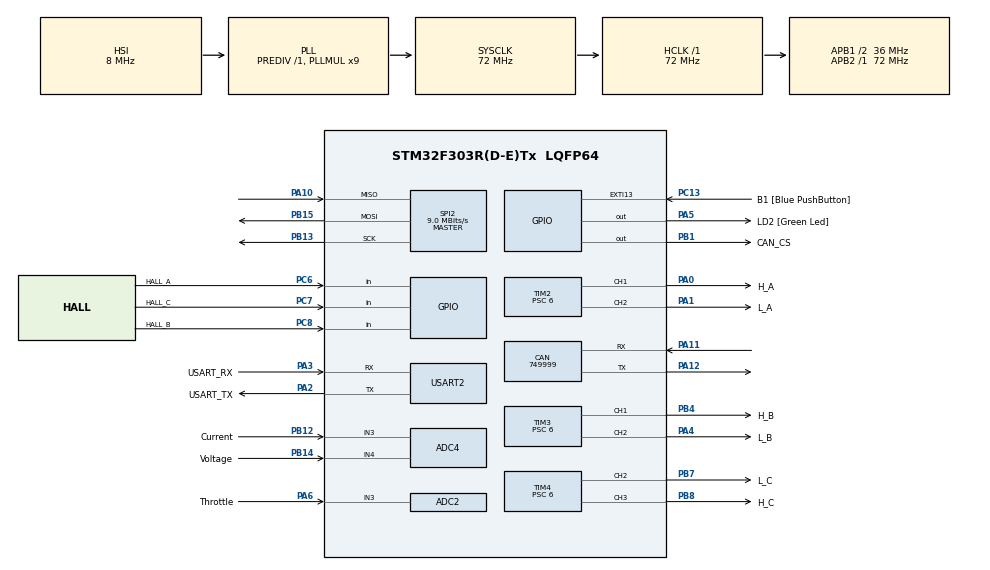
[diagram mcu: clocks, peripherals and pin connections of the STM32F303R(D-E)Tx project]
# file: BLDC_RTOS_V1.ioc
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ADC2.Channel-0\#ChannelRegularConversion=ADC_CHANNEL_3
ADC2.Channel-1\#ChannelRegularConversion=ADC_CHANNEL_3
ADC2.Channel-2\#ChannelRegularConversion=ADC_CHANNEL_3
ADC2.ContinuousConvMode=ENABLE
ADC2.DMAContinuousRequests=ENABLE
ADC2.NbrOfConversion=3
ADC2.NbrOfConversionFlag=1
ADC2.Offset-0\#ChannelRegularConversion=0
ADC2.Offset-1\#ChannelRegularConversion=0
ADC2.Offset-2\#ChannelRegularConversion=0
ADC2.OffsetNumber-0\#ChannelRegularConversion=ADC_OFFSET_NONE
ADC2.OffsetNumber-1\#ChannelRegularConversion=ADC_OFFSET_NONE
ADC2.OffsetNumber-2\#ChannelRegularConversion=ADC_OFFSET_NONE
ADC2.Rank-0\#ChannelRegularConversion=1
ADC2.Rank-1\#ChannelRegularConversion=2
ADC2.Rank-2\#ChannelRegularConversion=3
ADC2.SamplingTime-0\#ChannelRegularConversion=ADC_SAMPLETIME_1CYCLE_5
ADC2.SamplingTime-1\#ChannelRegularConversion=ADC_SAMPLETIME_1CYCLE_5
ADC2.SamplingTime-2\#ChannelRegularConversion=ADC_SAMPLETIME_1CYCLE_5
ADC2.SamplingTimeOPAMP-0\#ChannelRegularConversion=ADC_SAMPLETIME_61CYCLES_5
ADC2.SamplingTimeOPAMP-1\#ChannelRegularConversion=ADC_SAMPLETIME_61CYCLES_5
ADC2.SamplingTimeOPAMP-2\#ChannelRegularConversion=ADC_SAMPLETIME_61CYCLES_5
ADC4.Channel-0\#ChannelRegularConversion=ADC_CHANNEL_3
ADC4.Channel-1\#ChannelRegularConversion=ADC_CHANNEL_3
ADC4.Channel-2\#ChannelRegularConversion=ADC_CHANNEL_3
ADC4.ContinuousConvMode=ENABLE
ADC4.DMAContinuousRequests=ENABLE
ADC4.NbrOfConversion=3
ADC4.NbrOfConversionFlag=1
ADC4.Offset-0\#ChannelRegularConversion=0
ADC4.Offset-1\#ChannelRegularConversion=0
ADC4.Offset-2\#ChannelRegularConversion=0
ADC4.OffsetNumber-0\#ChannelRegularConversion=ADC_OFFSET_NONE
ADC4.OffsetNumber-1\#ChannelRegularConversion=ADC_OFFSET_NONE
ADC4.OffsetNumber-2\#ChannelRegularConversion=ADC_OFFSET_NONE
ADC4.Rank-0\#ChannelRegularConversion=1
ADC4.Rank-1\#ChannelRegularConversion=2
ADC4.Rank-2\#ChannelRegularConversion=3
ADC4.SamplingTime-0\#ChannelRegularConversion=ADC_SAMPLETIME_1CYCLE_5
ADC4.SamplingTime-1\#ChannelRegularConversion=ADC_SAMPLETIME_1CYCLE_5
ADC4.SamplingTime-2\#ChannelRegularConversion=ADC_SAMPLETIME_1CYCLE_5
ADC4.SamplingTimeOPAMP-1\#ChannelRegularConversion=ADC_SAMPLETIME_61CYCLES_5
ADC4.SamplingTimeOPAMP-2\#ChannelRegularConversion=ADC_SAMPLETIME_61CYCLES_5
CAN.CalculateBaudRate=749999
CAN.CalculateTimeBit=1333
CAN.CalculateTimeQuantum=444.44444444444446
Dma.ADC2.1.Direction=DMA_PERIPH_TO_MEMORY
Dma.ADC2.1.Instance=DMA2_Channel1
Dma.ADC2.1.MemDataAlignment=DMA_MDATAALIGN_HALFWORD
Dma.ADC2.1.MemInc=DMA_MINC_ENABLE
Dma.ADC2.1.Mode=DMA_CIRCULAR
Dma.ADC2.1.PeriphDataAlignment=DMA_PDATAALIGN_HALFWORD
Dma.ADC2.1.PeriphInc=DMA_PINC_DISABLE
Dma.ADC2.1.Priority=DMA_PRIORITY_LOW
Dma.ADC4.2.Direction=DMA_PERIPH_TO_MEMORY
Dma.ADC4.2.Instance=DMA2_Channel2
Dma.ADC4.2.MemDataAlignment=DMA_MDATAALIGN_HALFWORD
Dma.ADC4.2.MemInc=DMA_MINC_ENABLE
Dma.ADC4.2.Mode=DMA_CIRCULAR
Dma.ADC4.2.PeriphDataAlignment=DMA_PDATAALIGN_HALFWORD
Dma.ADC4.2.PeriphInc=DMA_PINC_DISABLE
Dma.ADC4.2.Priority=DMA_PRIORITY_LOW
Dma.Request0=USART2_TX
Dma.Request1=ADC2
Dma.Request2=ADC4
Dma.USART2_TX.0.Direction=DMA_MEMORY_TO_PERIPH
Dma.USART2_TX.0.Instance=DMA1_Channel7
Dma.USART2_TX.0.MemDataAlignment=DMA_MDATAALIGN_BYTE
Dma.USART2_TX.0.MemInc=DMA_MINC_ENABLE
Dma.USART2_TX.0.Mode=DMA_CIRCULAR
Dma.USART2_TX.0.PeriphDataAlignment=DMA_PDATAALIGN_BYTE
Dma.USART2_TX.0.PeriphInc=DMA_PINC_DISABLE
Dma.USART2_TX.0.Priority=DMA_PRIORITY_LOW
FREERTOS.Tasks01=defaultTask,-2,128,StartDefaultTask,Default,NULL,Dynamic,NULL,NULL;pwmHandle,-3,128,StartPwmHandle,Default,NULL,Dynamic,NULL,NULL;adcHandle,1,128,StartAdcHandle,Default,NULL,Dynamic,NULL,NULL;canHandler,2,128,StartCanHandler,Default,NULL,Dynamic,NULL,NULL;DataHandler,2,128,StartDataHandler,Default,NULL,Dynamic,NULL,NULL
FREERTOS.configUSE_NEWLIB_REENTRANT=1
Mcu.Family=STM32F3
Mcu.Name=STM32F303R(D-E)Tx
Mcu.Package=LQFP64
NVIC.ADC1_2_IRQn=true\:5\:0\:false\:false\:true\:true\:true\:true\:true
NVIC.DMA1_Channel7_IRQn=true\:5\:0\:false\:false\:true\:true\:false\:true\:true
NVIC.DMA2_Channel1_IRQn=true\:5\:0\:false\:false\:true\:true\:false\:true\:true
NVIC.DMA2_Channel2_IRQn=true\:5\:0\:false\:false\:true\:true\:false\:true\:true
NVIC.PriorityGroup=NVIC_PRIORITYGROUP_4
NVIC.TIM1_BRK_TIM15_IRQn=true\:5\:0\:false\:false\:true\:true\:true\:true\:true
NVIC.TIM1_UP_TIM16_IRQn=true\:15\:0\:false\:false\:true\:false\:false\:true\:true
NVIC.TIM2_IRQn=true\:5\:0\:false\:false\:true\:true\:true\:true\:true
NVIC.TIM3_IRQn=true\:5\:0\:false\:false\:true\:true\:true\:true\:true
NVIC.TimeBase=TIM1_UP_TIM16_IRQn
NVIC.TimeBaseIP=TIM1
PA0.GPIO_Label=H_A
PA0.Signal=S_TIM2_CH1_ETR
PA1.GPIO_Label=L_A
PA1.Signal=S_TIM2_CH2
PA10.GPIO_PuPd=GPIO_PULLDOWN
PA10.Mode=Full_Duplex_Master
PA10.Signal=SPI2_MISO
PA11.Mode=CAN_Activate
PA11.Signal=CAN_RX
PA12.Mode=CAN_Activate
PA12.Signal=CAN_TX
PA13.GPIO_Label=TMS
PA13.Mode=Serial_Wire
PA13.Signal=SYS_JTMS-SWDIO
PA14.GPIO_Label=TCK
PA14.Mode=Serial_Wire
PA14.Signal=SYS_JTCK-SWCLK
PA2.GPIO_Label=USART_TX
PA2.GPIO_Mode=GPIO_MODE_AF_PP
PA2.GPIO_PuPd=GPIO_NOPULL
PA2.GPIO_Speed=GPIO_SPEED_FREQ_LOW
PA2.Mode=Asynchronous
PA2.Signal=USART2_TX
PA3.GPIO_Label=USART_RX
PA3.GPIO_Mode=GPIO_MODE_AF_PP
PA3.GPIO_PuPd=GPIO_NOPULL
PA3.GPIO_Speed=GPIO_SPEED_FREQ_LOW
PA3.Mode=Asynchronous
PA3.Signal=USART2_RX
PA4.GPIO_Label=L_B
PA4.Signal=S_TIM3_CH2
PA5.GPIO_Label=LD2 [Green Led]
PA5.GPIO_Mode=GPIO_MODE_OUTPUT_PP
PA5.GPIO_PuPd=GPIO_NOPULL
PA5.GPIO_Speed=GPIO_SPEED_FREQ_LOW
PA5.Signal=GPIO_Output
PA6.GPIO_Label=Throttle
PA6.Mode=IN3-Single-Ended
PA6.Signal=ADC2_IN3
PB1.GPIO_Label=CAN_CS
PB1.PinState=GPIO_PIN_SET
PB1.Signal=GPIO_Output
PB12.GPIO_Label=Current
PB12.Mode=IN3-Single-Ended
PB12.Signal=ADC4_IN3
PB13.GPIO_PuPd=GPIO_NOPULL
PB13.Mode=Full_Duplex_Master
PB13.Signal=SPI2_SCK
PB14.GPIO_Label=Voltage
PB14.Mode=IN4-Single-Ended
PB14.Signal=ADC4_IN4
PB15.Mode=Full_Duplex_Master
PB15.Signal=SPI2_MOSI
PB3.GPIO_Label=SWO
PB3.Signal=SYS_JTDO-TRACESWO
PB4.GPIO_Label=H_B
PB4.Signal=S_TIM3_CH1
PB7.GPIO_Label=L_C
PB7.Signal=S_TIM4_CH2
PB8.GPIO_Label=H_C
PB8.Signal=S_TIM4_CH3
PC13.GPIO_Label=B1 [Blue PushButton]
PC13.GPIO_ModeDefaultEXTI=GPIO_MODE_IT_FALLING
PC13.Signal=GPXTI13
PC14-OSC32_IN.Mode=LSE-External-Oscillator
PC14-OSC32_IN.Signal=RCC_OSC32_IN
PC15-OSC32_OUT.Mode=LSE-External-Oscillator
PC15-OSC32_OUT.Signal=RCC_OSC32_OUT
PC6.GPIO_Label=HALL_A
PC6.Signal=GPIO_Input
PC7.GPIO_Label=HALL_C
PC7.Signal=GPIO_Input
PC8.GPIO_Label=HALL_B
PC8.Signal=GPIO_Input
PF0-OSC_IN.Mode=HSE-External-Clock-Source
PF0-OSC_IN.Signal=RCC_OSC_IN
PF1-OSC_OUT.Signal=RCC_OSC_OUT
ProjectManager.HeapSize=0x200
ProjectManager.StackSize=0x400
ProjectManager.TargetToolchain=STM32CubeIDE
RCC.AHBFreq_Value=72000000
RCC.APB1CLKDivider=RCC_HCLK_DIV2
RCC.APB1Freq_Value=36000000
RCC.APB1TimFreq_Value=72000000
RCC.APB2Freq_Value=72000000
RCC.APB2TimFreq_Value=72000000
RCC.CortexFreq_Value=72000000
RCC.HCLKFreq_Value=72000000
RCC.HSE_VALUE=8000000
RCC.HSI_VALUE=8000000
RCC.PLLM=8
RCC.PLLMUL=RCC_PLL_MUL9
RCC.PLLN=336
RCC.PLLP=RCC_PLLP_DIV4
RCC.PLLQ=7
RCC.RCC_PLLsource_Clock_Source_FROM_HSE=RCC_HSE_PREDIV_DIV2
RCC.SYSCLKFreq_VALUE=72000000
RCC.SYSCLKSourceVirtual=RCC_SYSCLKSOURCE_PLLCLK
RCC.USBFreq_Value=72000000
SH.S_TIM2_CH1_ETR.0=TIM2_CH1,PWM Generation1 CH1
SH.S_TIM2_CH2.0=TIM2_CH2,PWM Generation2 CH2
SH.S_TIM3_CH1.0=TIM3_CH1,PWM Generation1 CH1
SH.S_TIM3_CH2.0=TIM3_CH2,PWM Generation2 CH2
SH.S_TIM4_CH2.0=TIM4_CH2,PWM Generation2 CH2
SH.S_TIM4_CH3.0=TIM4_CH3,PWM Generation3 CH3
SPI2.BaudRatePrescaler=SPI_BAUDRATEPRESCALER_4
SPI2.CalculateBaudRate=9.0 MBits/s
SPI2.DataSize=SPI_DATASIZE_8BIT
SPI2.Direction=SPI_DIRECTION_2LINES
SPI2.Mode=SPI_MODE_MASTER
SPI2.VirtualType=VM_MASTER
TIM15.Channel-PWM\ Generation2\ No\ Output=TIM_CHANNEL_2
TIM2.Channel-PWM\ Generation1\ CH1=TIM_CHANNEL_1
TIM2.Channel-PWM\ Generation2\ CH2=TIM_CHANNEL_2
TIM2.CounterMode=TIM_COUNTERMODE_CENTERALIGNED1
TIM2.OCPolarity_2=TIM_OCPOLARITY_LOW
TIM2.Period=255
TIM2.Prescaler=6
TIM3.Channel-PWM\ Generation1\ CH1=TIM_CHANNEL_1
TIM3.Channel-PWM\ Generation2\ CH2=TIM_CHANNEL_2
TIM3.CounterMode=TIM_COUNTERMODE_CENTERALIGNED1
TIM3.OCPolarity_2=TIM_OCPOLARITY_LOW
TIM3.Period=255
TIM3.Prescaler=6
TIM4.Channel-PWM\ Generation2\ CH2=TIM_CHANNEL_2
TIM4.Channel-PWM\ Generation3\ CH3=TIM_CHANNEL_3
TIM4.CounterMode=TIM_COUNTERMODE_CENTERALIGNED1
TIM4.OCPolarity_2=TIM_OCPOLARITY_LOW
TIM4.Period=255
TIM4.Prescaler=6
USART2.VirtualMode-Asynchronous=VM_ASYNC
VP_FREERTOS_VS_CMSIS_V1.Mode=CMSIS_V1
VP_SYS_VS_tim1.Mode=TIM1
VP_TIM15_VS_ClockSourceINT.Mode=Internal
VP_TIM15_VS_no_output2.Mode=PWM Generation2 No Output
VP_TIM2_VS_ClockSourceINT.Mode=Internal
VP_TIM3_VS_ClockSourceINT.Mode=Internal
VP_TIM4_VS_ClockSourceINT.Mode=Internal
VP_TIM6_VS_ClockSourceINT.Mode=Enable_Timer
board=NUCLEO-F303RE

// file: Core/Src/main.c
/* USER CODE BEGIN Header */
/**
  ******************************************************************************
  * @file           : main.c
  * @brief          : Main program body
  ******************************************************************************
  * @attention
  *
  * Copyright (c) 2023 STMicroelectronics.
  * All rights reserved.
  *
  * This software is licensed under terms that can be found in the LICENSE file
  * in the root directory of this software component.
  * If no LICENSE file comes with this software, it is provided AS-IS.
  *
  ******************************************************************************
  */
/* USER CODE END Header */
#include "main.h"
#include "cmsis_os.h"
#include "adc.h"
#include "can.h"
#include "dma.h"
#include "spi.h"
#include "tim.h"
#include "usart.h"
#include "gpio.h"

void SystemClock_Config(void);
void MX_FREERTOS_Init(void);

int main(void)
{

  /* MCU Configuration--------------------------------------------------------*/

  /* Reset of all peripherals, Initializes the Flash interface and the Systick. */
  HAL_Init();

  /* Configure the system clock */
  SystemClock_Config();

  /* Initialize all configured peripherals */
  MX_GPIO_Init();
  MX_DMA_Init();
  MX_USART2_UART_Init();
  MX_ADC2_Init();
  MX_ADC4_Init();
  MX_TIM2_Init();
  MX_TIM3_Init();
  MX_TIM4_Init();
  MX_CAN_Init();
  MX_TIM15_Init();
  MX_SPI2_Init();
  MX_TIM6_Init();
  /* USER CODE BEGIN 2 */
  CANSPI_Initialize();
  /* USER CODE END 2 */

  /* Call init function for freertos objects (in freertos.c) */
  MX_FREERTOS_Init();

  /* Start scheduler */
  osKernelStart();

  /* We should never get here as control is now taken by the scheduler */
  /* Infinite loop */
  while (1)
  {

  }
}

void SystemClock_Config(void)
{
  RCC_OscInitTypeDef RCC_OscInitStruct = {0};
  RCC_ClkInitTypeDef RCC_ClkInitStruct = {0};
  RCC_PeriphCLKInitTypeDef PeriphClkInit = {0};

  /** Initializes the RCC Oscillators according to the specified parameters
  * in the RCC_OscInitTypeDef structure.
  */
  RCC_OscInitStruct.OscillatorType = RCC_OSCILLATORTYPE_HSI;
  RCC_OscInitStruct.HSIState = RCC_HSI_ON;
  RCC_OscInitStruct.HSICalibrationValue = RCC_HSICALIBRATION_DEFAULT;
  RCC_OscInitStruct.PLL.PLLState = RCC_PLL_ON;
  RCC_OscInitStruct.PLL.PLLSource = RCC_PLLSOURCE_HSI;
  RCC_OscInitStruct.PLL.PLLMUL = RCC_PLL_MUL9;
  RCC_OscInitStruct.PLL.PREDIV = RCC_PREDIV_DIV1;
  if (HAL_RCC_OscConfig(&RCC_OscInitStruct) != HAL_OK)
  {
    Error_Handler();
  }

  /** Initializes the CPU, AHB and APB buses clocks
  */
  RCC_ClkInitStruct.ClockType = RCC_CLOCKTYPE_HCLK|RCC_CLOCKTYPE_SYSCLK
                              |RCC_CLOCKTYPE_PCLK1|RCC_CLOCKTYPE_PCLK2;
  RCC_ClkInitStruct.SYSCLKSource = RCC_SYSCLKSOURCE_PLLCLK;
  RCC_ClkInitStruct.AHBCLKDivider = RCC_SYSCLK_DIV1;
  RCC_ClkInitStruct.APB1CLKDivider = RCC_HCLK_DIV2;
  RCC_ClkInitStruct.APB2CLKDivider = RCC_HCLK_DIV1;

  if (HAL_RCC_ClockConfig(&RCC_ClkInitStruct, FLASH_LATENCY_2) != HAL_OK)
  {
    Error_Handler();
  }
  PeriphClkInit.PeriphClockSelection = RCC_PERIPHCLK_USART2|RCC_PERIPHCLK_TIM15
                              |RCC_PERIPHCLK_ADC12|RCC_PERIPHCLK_ADC34
                              |RCC_PERIPHCLK_TIM2|RCC_PERIPHCLK_TIM34;
  PeriphClkInit.Usart2ClockSelection = RCC_USART2CLKSOURCE_PCLK1;
  PeriphClkInit.Adc12ClockSelection = RCC_ADC12PLLCLK_DIV1;
  PeriphClkInit.Adc34ClockSelection = RCC_ADC34PLLCLK_DIV1;
  PeriphClkInit.Tim15ClockSelection = RCC_TIM15CLK_HCLK;
  PeriphClkInit.Tim2ClockSelection = RCC_TIM2CLK_HCLK;
  PeriphClkInit.Tim34ClockSelection = RCC_TIM34CLK_HCLK;
  if (HAL_RCCEx_PeriphCLKConfig(&PeriphClkInit) != HAL_OK)
  {
    Error_Handler();
  }
}

void HAL_TIM_PeriodElapsedCallback(TIM_HandleTypeDef *htim)
{
  if (htim->Instance == TIM1) {
    HAL_IncTick();
  }
}

void Error_Handler(void)
{
  __disable_irq();
  while (1)
  {
  }
}

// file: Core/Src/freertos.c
/* USER CODE BEGIN Header */
/**
  ******************************************************************************
  * File Name          : freertos.c
  * Description        : Code for freertos applications
  ******************************************************************************
  * @attention
  *
  * Copyright (c) 2023 STMicroelectronics.
  * All rights reserved.
  *
  * This software is licensed under terms that can be found in the LICENSE file
  * in the root directory of this software component.
  * If no LICENSE file comes with this software, it is provided AS-IS.
  *
  ******************************************************************************
  */
/* USER CODE END Header */

#include "FreeRTOS.h"
#include "task.h"
#include "main.h"
#include "cmsis_os.h"

/* USER CODE BEGIN Includes */
#include <stdio.h>
#include <string.h>
/* USER CODE END Includes */

/* USER CODE BEGIN Variables */

// Proportions
int CURRENT_SCALING;
int VOLTAGE_SCALING;

// Parameter
unsigned int HALL_OVERSAMPLE;
int HALL_IDENTIFY_DUTY_CYCLE;
unsigned int F_PWM;
unsigned int DUTY_CYCLE_MAX;

// Current cutoff
int FULL_SCALE_CURRENT_MA;

// Throttle limits
unsigned int THROTTLE_LOW;
unsigned int THROTTLE_HIGH;

/*  Variables  */
int pwm_A;
int pwm_B;
int pwm_C;
int adc_bias;
int duty_cycle;
int voltage_mv;
int current_ma;
int throttle_pwm;

unsigned int hallToMotor[8];

/*Angular velocity*/

unsigned int previous_hall_state = 0;
uint16_t last_pwm_interrupt_time = 0;
uint16_t angularVelocity = 0;

//DMA
volatile uint16_t adc_dma_result[1];
int adc_channel_count;
uint8_t adc_conv_complete_flag;
char adc_dma_result_buffer[100];

uCAN_MSG txMessage;
uCAN_MSG rxMessage;

/* USER CODE END Variables */
osThreadId defaultTaskHandle;
osThreadId pwmHandleHandle;
osThreadId adcHandleHandle;
osThreadId canHandlerHandle;

/* USER CODE BEGIN FunctionPrototypes */

//Configuration setting
void init_bldc(void);

//Motor phase algorithm
unsigned int get_halls(void);
void process_halls(void);
void writePhases(uint16_t ah, uint16_t bh, uint16_t ch, uint16_t al, uint16_t bl, uint16_t cl);
void write_pd_table(unsigned int halls, unsigned int duty);

//ADC variables
void read_throttle(void);
void read_voltage(void);
void read_current(void);

/* USER CODE END FunctionPrototypes */

void StartDefaultTask(void const * argument);
void StartPwmHandle(void const * argument);
void StartAdcHandle(void const * argument);
void StartCanHandler(void const * argument);

void MX_FREERTOS_Init(void); /* (MISRA C 2004 rule 8.1) */

/* GetIdleTaskMemory prototype (linked to static allocation support) */
void vApplicationGetIdleTaskMemory( StaticTask_t **ppxIdleTaskTCBBuffer, StackType_t **ppxIdleTaskStackBuffer, uint32_t *pulIdleTaskStackSize );

/* USER CODE BEGIN GET_IDLE_TASK_MEMORY */
static StaticTask_t xIdleTaskTCBBuffer;
static StackType_t xIdleStack[configMINIMAL_STACK_SIZE];

void vApplicationGetIdleTaskMemory( StaticTask_t **ppxIdleTaskTCBBuffer, StackType_t **ppxIdleTaskStackBuffer, uint32_t *pulIdleTaskStackSize )
{
  *ppxIdleTaskTCBBuffer = &xIdleTaskTCBBuffer;
  *ppxIdleTaskStackBuffer = &xIdleStack[0];
  *pulIdleTaskStackSize = configMINIMAL_STACK_SIZE;
  /* place for user code */
}
/* USER CODE END GET_IDLE_TASK_MEMORY */

void MX_FREERTOS_Init(void) {
  /* USER CODE BEGIN Init */
     init_bldc();
  /* USER CODE END Init */

  /* Create the thread(s) */
  /* definition and creation of defaultTask */
  osThreadDef(defaultTask, StartDefaultTask, osPriorityLow, 0, 128);
  defaultTaskHandle = osThreadCreate(osThread(defaultTask), NULL);

  /* definition and creation of pwmHandle */
  osThreadDef(pwmHandle, StartPwmHandle, osPriorityIdle, 0, 128);
  pwmHandleHandle = osThreadCreate(osThread(pwmHandle), NULL);

  /* definition and creation of adcHandle */
  osThreadDef(adcHandle, StartAdcHandle, osPriorityAboveNormal, 0, 128);
  adcHandleHandle = osThreadCreate(osThread(adcHandle), NULL);

  /* definition and creation of canHandler */
  osThreadDef(canHandler, StartCanHandler, osPriorityHigh, 0, 128);
  canHandlerHandle = osThreadCreate(osThread(canHandler), NULL);

}

void StartDefaultTask(void const * argument)
{
  /* USER CODE BEGIN StartDefaultTask */
	uint8_t nextState[] = {5, 3, 1, 6, 4, 2};
  /* Infinite loop */
  for(;;)
  {
	for(unsigned int j = 0; j<2; j++){
    unsigned int hall = get_halls();
    write_pd_table(hall, HALL_IDENTIFY_DUTY_CYCLE);
    osDelay(1);
    write_pd_table(nextState[hall - 1], HALL_IDENTIFY_DUTY_CYCLE);
	}
    osDelay(100);
  }
  /* USER CODE END StartDefaultTask */
}

void StartPwmHandle(void const * argument)
{
  /* USER CODE BEGIN StartPwmHandle */
	uint8_t nextState[] = {5, 3, 1, 6, 4, 2};
  /* Infinite loop */
  for(;;)
  {
	 HAL_GPIO_TogglePin(GPIOA, GPIO_PIN_5);
	for(unsigned int j = 0; j < 160; j++)
	{
	 unsigned int hall = get_halls();
     write_pd_table(hall, throttle_pwm);
     osDelay(1);
     write_pd_table(nextState[hall - 1], HALL_IDENTIFY_DUTY_CYCLE);
     uint32_t current_time = HAL_GetTick();
     uint32_t time_elapsed = current_time - bldc->last_pwm_interrupt_time;

     // Calculate angular velocity
     angular_velocity = (60000 / (time_elapsed)) * (hall - previous_hall_state);
	}
  }
  /* USER CODE END StartPwmHandle */
}

void StartAdcHandle(void const * argument)
{
  /* USER CODE BEGIN StartAdcHandle */
  /* Infinite loop */
  for(;;)
  {
	//HAL_GPIO_TogglePin(GPIOA, GPIO_PIN_5);
    read_throttle();
    read_current();
    unsigned int halls = get_halls();
	write_pd_table(halls, throttle_pwm);
    osDelay(7);
  }
  /* USER CODE END StartAdcHandle */
}

void StartCanHandler(void const * argument)
{
  /* USER CODE BEGIN StartCanHandler */
  /* Infinite loop */
  for(;;)
  {
	txMessage.frame.idType = dSTANDARD_CAN_MSG_ID_2_0B;
		  txMessage.frame.id = 0x0A;
		  txMessage.frame.dlc = 8;
		  txMessage.frame.data0 = throttle_pwm;
		  txMessage.frame.data1 = current_ma;
		  txMessage.frame.data2 = 0;
		  txMessage.frame.data3 = 0;
		  txMessage.frame.data4 = 0;
		  txMessage.frame.data5 = 0;
		  txMessage.frame.data6 = 0;
		  txMessage.frame.data7 = 0;
    CANSPI_Transmit(&txMessage);
    osDelay(50);
  }
  /* USER CODE END StartCanHandler */
}

/* USER CODE BEGIN Application */
void init_bldc(void){
    // Proportions
	CURRENT_SCALING = 3.3 / 0.001 / 20 / 4096 * 1000;
	VOLTAGE_SCALING = 3.3 / 4096 * (47 + 2.2) / 2.2 * 1000;

    // Parameter
	HALL_OVERSAMPLE = 8;
	HALL_IDENTIFY_DUTY_CYCLE = 40;
	F_PWM = 16000;
	DUTY_CYCLE_MAX = 255;

    // Current cutoff
	FULL_SCALE_CURRENT_MA = 30000;

    // Throttle limits
	THROTTLE_LOW = 210;
	THROTTLE_HIGH = 1740;

	adc_channel_count = sizeof(adc_dma_result)/sizeof(adc_dma_result[0]);
	adc_conv_complete_flag = 0;

	__HAL_TIM_SET_COMPARE(&htim2, TIM_CHANNEL_1, 0);
	__HAL_TIM_SET_COMPARE(&htim2, TIM_CHANNEL_2, 255);
	__HAL_TIM_SET_COMPARE(&htim3, TIM_CHANNEL_1, 0);
	__HAL_TIM_SET_COMPARE(&htim3, TIM_CHANNEL_2, 255);
	__HAL_TIM_SET_COMPARE(&htim4, TIM_CHANNEL_3, 0);
	__HAL_TIM_SET_COMPARE(&htim4, TIM_CHANNEL_2, 255);

    HAL_TIM_PWM_Start(&htim2, TIM_CHANNEL_1);
    HAL_TIM_PWM_Start(&htim2, TIM_CHANNEL_2);
    HAL_TIM_PWM_Start(&htim3, TIM_CHANNEL_1);
    HAL_TIM_PWM_Start(&htim3, TIM_CHANNEL_2);
    HAL_TIM_PWM_Start(&htim4, TIM_CHANNEL_3);
	HAL_TIM_PWM_Start(&htim4, TIM_CHANNEL_2);
	HAL_ADC_Start(&hadc2);
}

unsigned int get_halls(void){
	unsigned int hallCounts[] = {0, 0, 0};

	// Read all the Hall pins repeatedly and tally the results
	for (unsigned int i = 0; i < HALL_OVERSAMPLE; i++) {
		hallCounts[0] += HAL_GPIO_ReadPin(HALL_A_GPIO_Port, HALL_A_Pin);
		hallCounts[1] += HAL_GPIO_ReadPin(HALL_B_GPIO_Port, HALL_B_Pin);
		hallCounts[2] += HAL_GPIO_ReadPin(HALL_C_GPIO_Port, HALL_C_Pin);
	}

	unsigned int hall = 0;

	// If votes >= threshold, set the corresponding bit to 1
	if (hallCounts[0] > HALL_OVERSAMPLE / 2)
		hall |= (1 << 0);
	if (hallCounts[1] > HALL_OVERSAMPLE / 2)
		hall |= (1 << 1);
	if (hallCounts[2] > HALL_OVERSAMPLE / 2)
		hall |= (1 << 2);

	// Print the hall value
	//print_binary(hall);

	/*
	char message[50];
	snprintf(message, sizeof(message), "Hall Value: %u\r\n", hall);
	HAL_UART_Transmit(&huart2, (uint8_t *)message, strlen(message), HAL_MAX_DELAY);
	*/

	return hall;
}

void process_halls(void){

    for(unsigned int j = 0; j < 200; j++)
    {
	    unsigned int hall = get_halls();
	    write_pd_table(hall, throttle_pwm);
    }
    throttle_pwm = 0;

}

void writePhases(uint16_t ah, uint16_t bh, uint16_t ch, uint16_t al, uint16_t bl, uint16_t cl){
	__HAL_TIM_SET_COMPARE(&htim2, TIM_CHANNEL_1, ah);
	__HAL_TIM_SET_COMPARE(&htim2, TIM_CHANNEL_2, 255 - al);
	__HAL_TIM_SET_COMPARE(&htim3, TIM_CHANNEL_1, bh);
	__HAL_TIM_SET_COMPARE(&htim3, TIM_CHANNEL_2, 255 - bl);
	__HAL_TIM_SET_COMPARE(&htim4, TIM_CHANNEL_3, ch);
	__HAL_TIM_SET_COMPARE(&htim4, TIM_CHANNEL_2, 255 - cl);
}

void write_pd_table(unsigned int halls, unsigned int duty){

	if(duty >= 257){
		duty = 0;
	}
	if(duty < 27){
		throttle_pwm = 0;
		duty = 0;
		halls = 8;
	}

	unsigned int complement = 255 - duty - 6;

	switch(halls){
        case 1: // Case 001
           writePhases(duty, 0, 0, complement, 0, 255);  //writePhases(0, 0, duty, 255, 0, 0);
           break;
        case 2: // Case 010
           writePhases(0, 0, duty, 0, 255, complement);  //writePhases(0, duty, 0, 0, 0, 255);
           break;
        case 3: // Case 011
           writePhases(duty, 0, 0, complement, 255, 0);  //writePhases(0, duty, 0, 255, 0, 0);
           break;
        case 4: // Case 100
           writePhases(0, duty, 0, 255, complement, 0);  //writePhases(duty, 0, 0, 0, 255, 0);
           break;
        case 5: // Case 101
           writePhases(0, duty, 0, 0, complement, 255);  //writePhases(0, 0, duty, 0, 255, 0);
           break;
        case 6: // Case 110
           writePhases(0, 0, duty, 255, 0, complement);  //writePhases(duty, 0, 0, 0, 0, 255);
           break;
        default: // Case 000 or error
           writePhases(0, 0, 0, 255, 255, 255);
	}

}

void read_throttle(void){
	unsigned int throttle_adc = HAL_ADC_GetValue(&hadc2);

	throttle_adc = (throttle_adc - THROTTLE_LOW) * 255;
	if(throttle_adc < 0){
		throttle_adc *= -1;
	}

	throttle_adc = throttle_adc / (THROTTLE_HIGH - THROTTLE_LOW);
	throttle_pwm = throttle_adc;

	/*
	char message[50];
	snprintf(message, sizeof(message), "Throttle Value: %u\r\n", throttle_adc);
	HAL_UART_Transmit(&huart2, (uint8_t *)message, strlen(message), HAL_MAX_DELAY);
	*/

	    if (throttle_adc >= 255) // Bound the output between 0 and 255
	    	throttle_pwm = 255;

	    if (throttle_adc <= 0)
	    	throttle_pwm = 0;

}

void read_voltage(void){
	int voltage_adc = HAL_ADC_GetValue(&hadc4);
	voltage_mv = voltage_adc * CURRENT_SCALING;
	/*Scale and limits*/
}

void read_current(void){
	int current_adc = HAL_ADC_GetValue(&hadc4);
	current_ma = current_adc * VOLTAGE_SCALING;
	/*Scale and limits*/
	/*Function to protect over current*/
}

/* USER CODE END Application */
